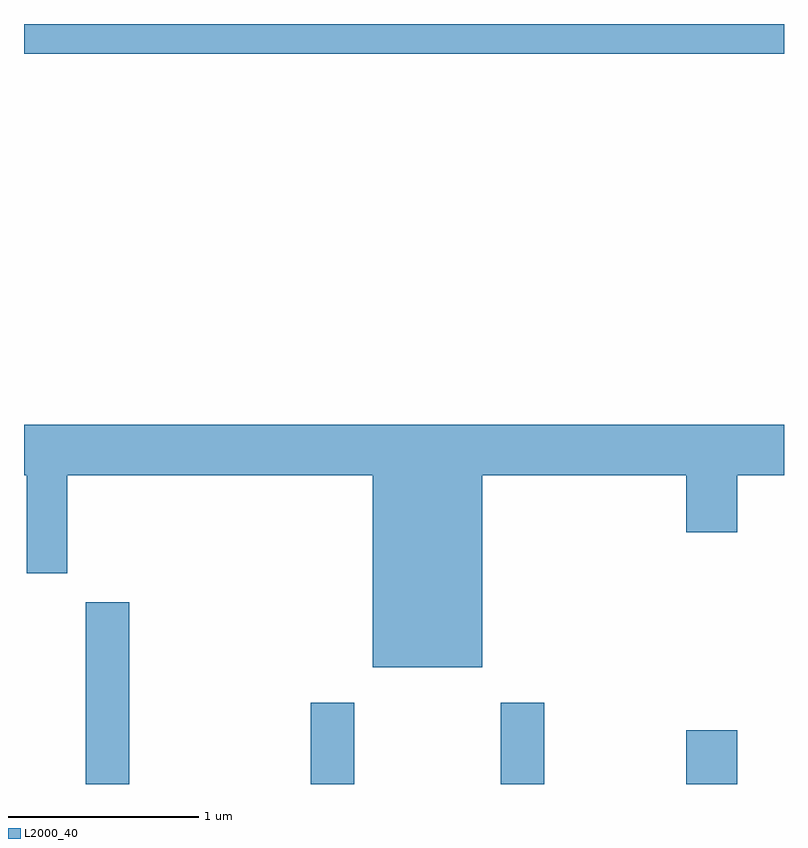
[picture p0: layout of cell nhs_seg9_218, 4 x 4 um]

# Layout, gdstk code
import gdstk
lib = gdstk.Library(unit=1e-6, precision=1e-09)
def R(c, l, rs):  # rectangles x0, y0, x1, y1
    for r in rs: c.add(gdstk.rectangle(r[:2], r[2:], *l))
def P(c, l, *ps):  # polygons
    for p in ps: c.add(gdstk.Polygon(p, *l))
L2000_40 = (2000, 40)

nhs_seg9_218 = lib.new_cell('nhs_seg9_218')
R(nhs_seg9_218, L2000_40, [(191.936,1972.432,192.164,1973.389), (193.121,1972.432,193.349,1972.859), (194.121,1972.432,194.349,1972.859), (195.096,1972.432,195.364,1972.714), (191.611,1976.276,195.611,1976.432)])
P(nhs_seg9_218, L2000_40, [(194.024,1974.056),(195.096,1974.056),(195.096,1973.756),(195.364,1973.756),(195.364,1974.056),(195.611,1974.056),(195.611,1974.324),(191.611,1974.324),(191.611,1974.056),(191.626,1974.056),(191.626,1973.541),(191.839,1973.541),(191.839,1974.056),(193.446,1974.056),(193.446,1973.046),(194.024,1973.046)])

lib.write_gds('nhs_seg9_218.gds')
